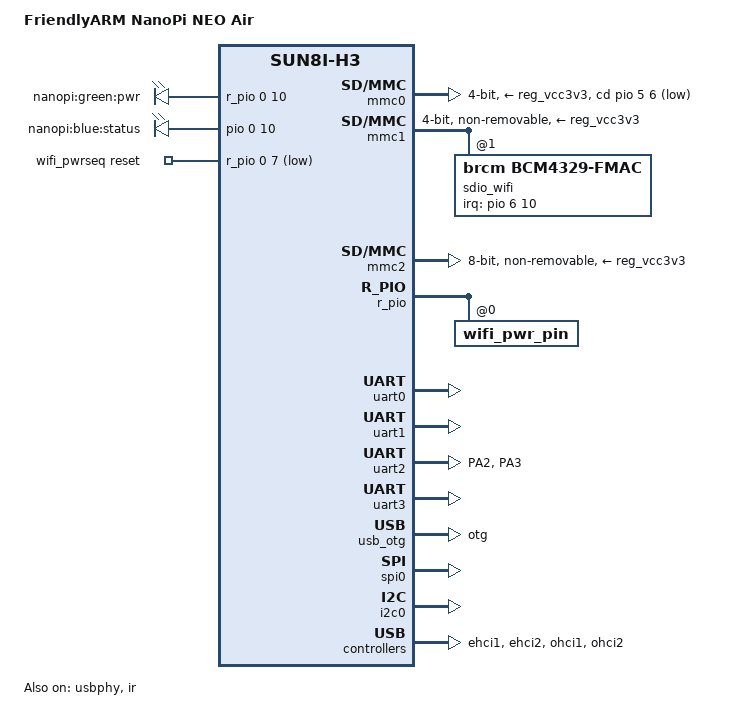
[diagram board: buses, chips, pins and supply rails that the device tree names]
/*
 * Copyright (C) 2017 Jelle van der Waa <jelle@vdwaa.nl>
 *
 * This file is dual-licensed: you can use it either under the terms
 * of the GPL or the X11 license, at your option. Note that this dual
 * licensing only applies to this file, and not this project as a
 * whole.
 *
 *  a) This file is free software; you can redistribute it and/or
 *     modify it under the terms of the GNU General Public License as
 *     published by the Free Software Foundation; either version 2 of the
 *     License, or (at your option) any later version.
 *
 *     This file is distributed in the hope that it will be useful,
 *     but WITHOUT ANY WARRANTY; without even the implied warranty of
 *     MERCHANTABILITY or FITNESS FOR A PARTICULAR PURPOSE.  See the
 *     GNU General Public License for more details.
 *
 * Or, alternatively,
 *
 *  b) Permission is hereby granted, free of charge, to any person
 *     obtaining a copy of this software and associated documentation
 *     files (the "Software"), to deal in the Software without
 *     restriction, including without limitation the rights to use,
 *     copy, modify, merge, publish, distribute, sublicense, and/or
 *     sell copies of the Software, and to permit persons to whom the
 *     Software is furnished to do so, subject to the following
 *     conditions:
 *
 *     The above copyright notice and this permission notice shall be
 *     included in all copies or substantial portions of the Software.
 *
 *     THE SOFTWARE IS PROVIDED "AS IS", WITHOUT WARRANTY OF ANY KIND,
 *     EXPRESS OR IMPLIED, INCLUDING BUT NOT LIMITED TO THE WARRANTIES
 *     OF MERCHANTABILITY, FITNESS FOR A PARTICULAR PURPOSE AND
 *     NONINFRINGEMENT. IN NO EVENT SHALL THE AUTHORS OR COPYRIGHT
 *     HOLDERS BE LIABLE FOR ANY CLAIM, DAMAGES OR OTHER LIABILITY,
 *     WHETHER IN AN ACTION OF CONTRACT, TORT OR OTHERWISE, ARISING
 *     FROM, OUT OF OR IN CONNECTION WITH THE SOFTWARE OR THE USE OR
 *     OTHER DEALINGS IN THE SOFTWARE.
 */

/dts-v1/;
#include "sun8i-h3.dtsi"
#include "sunxi-common-regulators.dtsi"

#include <dt-bindings/gpio/gpio.h>

/ {
	model = "FriendlyARM NanoPi NEO Air";
	compatible = "friendlyarm,nanopi-neo-air", "allwinner,sun8i-h3";

	aliases {
		serial0 = &uart0;
		serial1 = &uart1;
		serial2 = &uart2;
		serial3 = &uart3;
		ethernet1 = &sdio_wifi;
	};

	chosen {
		stdout-path = "serial0:115200n8";
	};

	leds {
		compatible = "gpio-leds";
		pinctrl-names = "default";
		pinctrl-0 = <&leds_rpio>, <&leds_pio>;

		pwr {
			label = "nanopi:green:pwr";
			gpios = <&r_pio 0 10 GPIO_ACTIVE_HIGH>; /* PL10 */
			default-state = "off";
		};

		status {
			label = "nanopi:blue:status";
			gpios = <&pio 0 10 GPIO_ACTIVE_HIGH>; /* PA10 */
			default-state = "off";
		};
	};

	wifi_pwrseq: wifi_pwrseq {
		compatible = "mmc-pwrseq-simple";
		pinctrl-names = "default";
		reset-gpios = <&r_pio 0 7 GPIO_ACTIVE_LOW>; /* PL7 */
	};
};

&mmc0 {
	pinctrl-names = "default";
	pinctrl-0 = <&mmc0_pins_a>, <&mmc0_cd_pin>;
	vmmc-supply = <&reg_vcc3v3>;
	bus-width = <4>;
	cd-gpios = <&pio 5 6 GPIO_ACTIVE_HIGH>;
	cd-inverted;
	status = "okay";
};

&mmc1 {
	pinctrl-names = "default";
	pinctrl-0 = <&mmc1_pins_a>;
	vmmc-supply = <&reg_vcc3v3>;
	vqmmc-supply = <&reg_vcc3v3>;
	mmc-pwrseq = <&wifi_pwrseq>;
	bus-width = <4>;
	non-removable;
	status = "okay";

	sdio_wifi: sdio_wifi@1 {
		reg = <1>;
		compatible = "brcm,bcm4329-fmac";
		interrupt-parent = <&pio>;
		interrupts = <6 10 IRQ_TYPE_LEVEL_LOW>;
		interrupt-names = "host-wake";
	};
};

&mmc2 {
	pinctrl-names = "default";
	pinctrl-0 = <&mmc2_8bit_pins>;
	vmmc-supply = <&reg_vcc3v3>;
	vqmmc-supply = <&reg_vcc3v3>;
	bus-width = <8>;
	non-removable;
	status = "okay";
};


&pio {

	uart2_rts_cts_pins: uart2_rts_cts {
		pins = "PA2", "PA3";
		function = "uart2";
	};

	leds_pio: led_pins {
		pins = "PA10";
		function = "gpio_out";
	};

	bt_rstn: bt_rstn@0 {
		pins = "PG13";
		function = "gpio_out";
		drive-strength = <10>;
		bias-pull-up;
	};

	bt_wake: bt_wake@0 {
		pins = "PA8";
		function = "gpio_out";
		drive-strength = <10>;
		bias-pull-up;
	};

	bt_host_wake: bt_host_wake@0 {
		pins = "PA7";
		function = "gpio_in";
	};
};

&r_pio {

	leds_rpio: led_pins {
		pins = "PL10";
		function = "gpio_out";
	};

	wifi_pwr_pin: wifi_pwr_pin@0 {
		pins = "PL7";
		function = "gpio_out";
		drive-strength = <10>;
		bias-pull-up;
	};
};

&uart0 {
	pinctrl-names = "default";
	pinctrl-0 = <&uart0_pins_a>;
	status = "okay";
};

&uart1 {
	pinctrl-names = "default";
	pinctrl-0 = <&uart1_pins>, <&uart1_rts_cts_pins>;
	uart-has-rtscts;
	status = "okay";
};

&uart2 {
	pinctrl-names = "default";
	pinctrl-0 = <&uart2_pins>, <&uart2_rts_cts_pins>;
	uart-has-rtscts;
	status = "okay";
};

&uart3 {	
	pinctrl-names = "default";
	pinctrl-0 = <&uart3_pins>, <&uart3_rts_cts_pins>;
	uart-has-rtscts;
	status = "okay";

/*	bluetooth: bluetooth@1 {
		compatible = "brcm,bcm43438-bt";
		pinctrl-names = "default";
		pinctrl-0 = <&bt_rstn>, <&bt_wake>, <&bt_host_wake>;
		shutdown-gpios = <&pio 6 13 GPIO_ACTIVE_HIGH>;
 		device-wakeup-gpios = <&pio 0 8 GPIO_ACTIVE_HIGH>;
 		host-wakeup-gpios = <&pio 0 7 GPIO_ACTIVE_HIGH>;
		max-speed = <921600>;
		clocks = <&osc32k>;
		clock-names = "extclk";
   	};*/
};


&reg_usb0_vbus {
	gpio = <&r_pio 0 2 GPIO_ACTIVE_HIGH>;
	status = "okay";
};


&usb_otg {
	dr_mode = "otg";
	status = "okay";
};

&usbphy {
	usb0_id_det-gpios = <&pio 6 12 GPIO_ACTIVE_HIGH>;
	usb0_vbus-supply = <&reg_usb0_vbus>;
	status = "okay";
};

&spi0{
	pinctrl-names = "default";
	pinctrl-0 = <&spi0_pins>;
	status = "okay";
};

&i2c0{
	pictrl-names = "default";
	pictrl-0 = <&i2c0_pins>;
	status = "okay";
};

&ehci1 {
	status = "okay";
};

&ehci2 {
	status = "okay";
};

&ohci1 {
	status = "okay";
};

&ohci2 {
	status = "okay";
};

&ir {
	pinctrl-names = "default";
	pinctrl-0 = <&ir_pins_a>;
	status = "okay";
};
